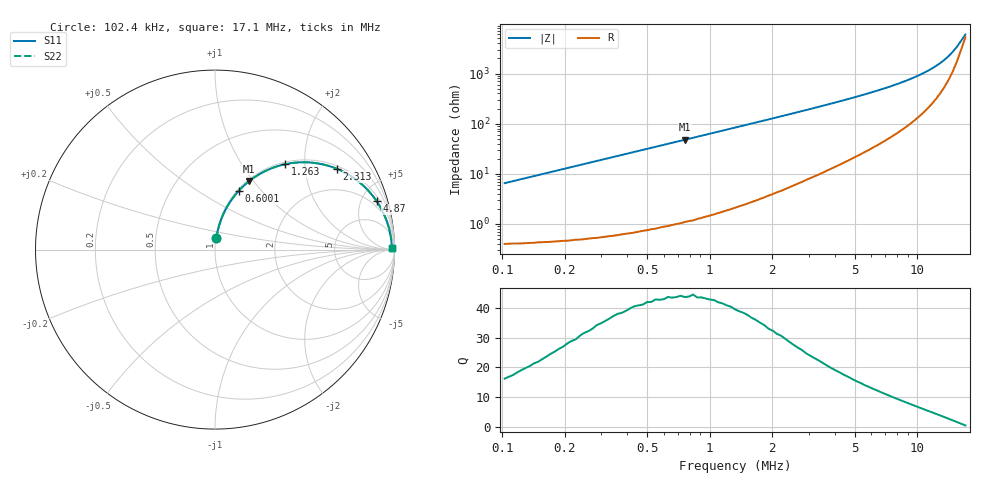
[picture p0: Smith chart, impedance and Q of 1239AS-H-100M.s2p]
! Touchstone 2-port S-parameters  (series-through model)
! Part: 1239AS-H-100M
! Generated: 2026-06-14 20:49 UTC  by s2p tool
! Reference impedance: 50.0 Ohm
! MEASURED vendor data (re-exported).
! ESTIMATED / behavioral model - NOT manufacturer-measured data.
# Hz S RI R 50
! freq  ReS11  ImS11  ReS21  ImS21  ReS12  ImS12  ReS22  ImS22
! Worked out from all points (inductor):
!   111 points, 102.4 kHz to 17.1 MHz, reference 50 ohm
!   read as one part in series: L = 10.1 uH near 102.4 kHz
!   highest Q = 43.8 at 757.3 kHz (marker M1), where L = 10 uH
!   S11 on the Smith chart (normalised r, x): 102.4 kHz: 1.01, +0.13; 600.1 kHz: 1.02, +0.76; 1.263 MHz: 1.04, +1.59; 2.313 MHz: 1.10, +2.94; 4.87 MHz: 1.40, +6.51; 17.1 MHz: open
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102411  0.00814 0.0642  0.9919 -0.0642  0.9919 -0.0642  0.00814 0.0642
247902  0.0286 0.1517  0.9714 -0.1517  0.9714 -0.1517  0.0286 0.1517
394775  0.0638 0.232  0.9362 -0.232  0.9362 -0.232  0.0638 0.232
572804  0.1212 0.3148  0.8788 -0.3148  0.8788 -0.3148  0.1212 0.3148
600085  0.131 0.3259  0.869 -0.3259  0.869 -0.3259  0.131 0.3259
757265  0.191 0.3818  0.809 -0.3818  0.809 -0.3818  0.191 0.3818
955614  0.2706 0.4328  0.7294 -0.4328  0.7294 -0.4328  0.2706 0.4328
1263351  0.3906 0.4756  0.6094 -0.4756  0.6094 -0.4756  0.3906 0.4756
1323522  0.4125 0.4798  0.5875 -0.4798  0.5875 -0.4798  0.4125 0.4798
1749738  0.5487 0.4835  0.4513 -0.4835  0.4513 -0.4835  0.5487 0.4835
2313208  0.678 0.4507  0.322 -0.4507  0.322 -0.4507  0.678 0.4507
3203786  0.7996 0.3793  0.2004 -0.3793  0.2004 -0.3793  0.7996 0.3793
4869968  0.9002 0.2702  0.0998 -0.2702  0.0998 -0.2702  0.9002 0.2702
7402677  0.9528 0.1695  0.0472 -0.1695  0.0472 -0.1695  0.9528 0.1695
8916957  0.9662 0.1297  0.0338 -0.1297  0.0338 -0.1297  0.9662 0.1297
1.025268e7  0.9734 0.1018  0.0266 -0.1018  0.0266 -0.1018  0.9734 0.1018
1.17885e7  0.9788 0.0751  0.0212 -0.0751  0.0212 -0.0751  0.9788 0.0751
1.293816e7  0.9814 0.0579  0.0186 -0.0579  0.0186 -0.0579  0.9814 0.0579
1.419993e7  0.9834 0.041  0.0166 -0.041  0.0166 -0.041  0.9834 0.041
1.487624e7  0.9841 0.0326  0.0159 -0.0326  0.0159 -0.0326  0.9841 0.0326
1.558476e7  0.9847 0.0243  0.0153 -0.0243  0.0153 -0.0243  0.9847 0.0243
1.710465e7  0.9855 0.00772  0.0145 -0.00772  0.0145 -0.00772  0.9855 0.00772
